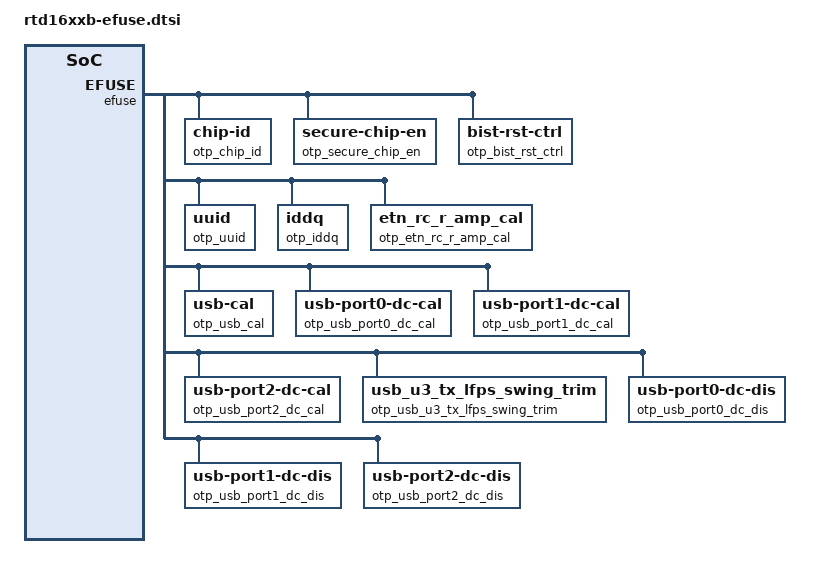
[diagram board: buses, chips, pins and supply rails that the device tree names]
// SPDX-License-Identifier: GPL-2.0
/* Copyright (C) 2020 Realtek Semiconductor Corporation
 */
&efuse {
	otp_chip_id: chip-id@3cc {
		reg = <0x3cc 0x10>;
	};
	otp_secure_chip_en: secure-chip-en@3fd {
		reg = <0x3fd 0x1>;
		bits = <2 3>;
	};
	otp_bist_rst_ctrl: bist-rst-ctrl@406 {
		reg = <0x406 0x1>;
		bits = <5 2>;
	};
	otp_uuid: uuid@478 {
		reg = <0x478 0xc>;
	};
	otp_iddq: iddq@4f8 {
		reg = <0x4f8 0x2>;
	};
	otp_etn_rc_r_amp_cal: etn_rc_r_amp_cal@504 {
		reg = <0x504 0x8>;
	};
	otp_usb_cal: usb-cal@528 {
		reg = <0x528 0xa>;
		bits = <0 77>;
	};
	otp_usb_port0_dc_cal: usb-port0-dc-cal@534 {
		reg = <0x534 0x1>;
		bits = <0 4>;
	};
	otp_usb_port1_dc_cal: usb-port1-dc-cal@534 {
		reg = <0x534 0x1>;
		bits = <4 4>;
	};
	otp_usb_port2_dc_cal: usb-port2-dc-cal@535 {
		reg = <0x535 0x1>;
		bits = <0 4>;
	};
	otp_usb_u3_tx_lfps_swing_trim: usb_u3_tx_lfps_swing_trim@A18 {
		reg = <0xA18 0x1>;
		bits = <0 4>;
	};
	otp_usb_port0_dc_dis: usb-port0-dc-dis@ae1 {
		reg = <0xae1 0x1>;
		bits = <0 4>;
	};
	otp_usb_port1_dc_dis: usb-port1-dc-dis@ae1 {
		reg = <0xae1 0x1>;
		bits = <4 4>;
	};
	otp_usb_port2_dc_dis: usb-port2-dc-dis@ae2 {
		reg = <0xae2 0x1>;
		bits = <0 4>;
	};
};
